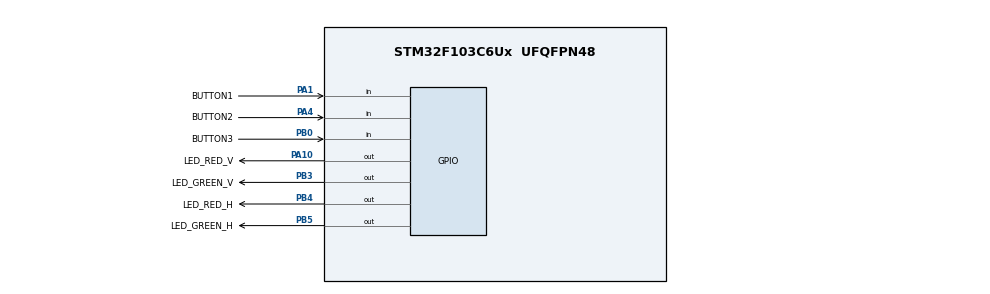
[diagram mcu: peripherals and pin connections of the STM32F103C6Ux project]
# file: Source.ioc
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Mcu.Family=STM32F1
Mcu.Name=STM32F103C6Ux
Mcu.Package=UFQFPN48
NVIC.PriorityGroup=NVIC_PRIORITYGROUP_4
NVIC.TIM2_IRQn=true\:0\:0\:false\:false\:true\:true\:true
PA1.GPIO_Label=BUTTON1
PA1.Signal=GPIO_Input
PA10.GPIO_Label=LED_RED_V
PA10.Signal=GPIO_Output
PA4.GPIO_Label=BUTTON2
PA4.Signal=GPIO_Input
PB0.GPIO_Label=BUTTON3
PB0.Signal=GPIO_Input
PB3.GPIO_Label=LED_GREEN_V
PB3.Signal=GPIO_Output
PB4.GPIO_Label=LED_RED_H
PB4.Signal=GPIO_Output
PB5.GPIO_Label=LED_GREEN_H
PB5.Signal=GPIO_Output
ProjectManager.HeapSize=0x200
ProjectManager.StackSize=0x400
ProjectManager.TargetToolchain=STM32CubeIDE
RCC.APB1Freq_Value=8000000
RCC.APB2Freq_Value=8000000
TIM2.Period=9
TIM2.Prescaler=7999
VP_SYS_VS_ND.Mode=No_Debug
VP_TIM2_VS_ClockSourceINT.Mode=Internal
board=custom

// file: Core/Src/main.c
/* USER CODE BEGIN Header */
/**
  ******************************************************************************
  * @file           : main.c
  * @brief          : Main program body
  ******************************************************************************
  * @attention
  *
  * <h2><center>&copy; Copyright (c) 2023 STMicroelectronics.
  * All rights reserved.</center></h2>
  *
  * This software component is licensed by ST under BSD 3-Clause license,
  * the "License"; You may not use this file except in compliance with the
  * License. You may obtain a copy of the License at:
  *                        opensource.org/licenses/BSD-3-Clause
  *
  ******************************************************************************
  */
/* USER CODE END Header */
#include "main.h"

/* USER CODE BEGIN Includes */
#include "software_timer.h"
#include "button.h"
#include "fsm_automatic.h"
#include "fsm_manual.h"
/* USER CODE END Includes */

TIM_HandleTypeDef htim2;

void SystemClock_Config(void);
static void MX_GPIO_Init(void);
static void MX_TIM2_Init(void);

int main(void)
{

  /* MCU Configuration--------------------------------------------------------*/

  /* Reset of all peripherals, Initializes the Flash interface and the Systick. */
  HAL_Init();

  /* Configure the system clock */
  SystemClock_Config();

  /* Initialize all configured peripherals */
  MX_GPIO_Init();
  MX_TIM2_Init();
  /* USER CODE BEGIN 2 */
  HAL_TIM_Base_Start_IT(&htim2);
  /* USER CODE END 2 */

  /* Infinite loop */
  /* USER CODE BEGIN WHILE */
  status = INIT;
  while (1)
  {
	  fsm_automatic_run();
	  fsm_manual_run();
    /* USER CODE END WHILE */

  }
}

void SystemClock_Config(void)
{
  RCC_OscInitTypeDef RCC_OscInitStruct = {0};
  RCC_ClkInitTypeDef RCC_ClkInitStruct = {0};

  /** Initializes the RCC Oscillators according to the specified parameters
  * in the RCC_OscInitTypeDef structure.
  */
  RCC_OscInitStruct.OscillatorType = RCC_OSCILLATORTYPE_HSI;
  RCC_OscInitStruct.HSIState = RCC_HSI_ON;
  RCC_OscInitStruct.HSICalibrationValue = RCC_HSICALIBRATION_DEFAULT;
  RCC_OscInitStruct.PLL.PLLState = RCC_PLL_NONE;
  if (HAL_RCC_OscConfig(&RCC_OscInitStruct) != HAL_OK)
  {
    Error_Handler();
  }
  /** Initializes the CPU, AHB and APB buses clocks
  */
  RCC_ClkInitStruct.ClockType = RCC_CLOCKTYPE_HCLK|RCC_CLOCKTYPE_SYSCLK
                              |RCC_CLOCKTYPE_PCLK1|RCC_CLOCKTYPE_PCLK2;
  RCC_ClkInitStruct.SYSCLKSource = RCC_SYSCLKSOURCE_HSI;
  RCC_ClkInitStruct.AHBCLKDivider = RCC_SYSCLK_DIV1;
  RCC_ClkInitStruct.APB1CLKDivider = RCC_HCLK_DIV1;
  RCC_ClkInitStruct.APB2CLKDivider = RCC_HCLK_DIV1;

  if (HAL_RCC_ClockConfig(&RCC_ClkInitStruct, FLASH_LATENCY_0) != HAL_OK)
  {
    Error_Handler();
  }
}

static void MX_TIM2_Init(void)
{

  TIM_ClockConfigTypeDef sClockSourceConfig = {0};
  TIM_MasterConfigTypeDef sMasterConfig = {0};

  htim2.Instance = TIM2;
  htim2.Init.Prescaler = 7999;
  htim2.Init.CounterMode = TIM_COUNTERMODE_UP;
  htim2.Init.Period = 9;
  htim2.Init.ClockDivision = TIM_CLOCKDIVISION_DIV1;
  htim2.Init.AutoReloadPreload = TIM_AUTORELOAD_PRELOAD_DISABLE;
  if (HAL_TIM_Base_Init(&htim2) != HAL_OK)
  {
    Error_Handler();
  }
  sClockSourceConfig.ClockSource = TIM_CLOCKSOURCE_INTERNAL;
  if (HAL_TIM_ConfigClockSource(&htim2, &sClockSourceConfig) != HAL_OK)
  {
    Error_Handler();
  }
  sMasterConfig.MasterOutputTrigger = TIM_TRGO_RESET;
  sMasterConfig.MasterSlaveMode = TIM_MASTERSLAVEMODE_DISABLE;
  if (HAL_TIMEx_MasterConfigSynchronization(&htim2, &sMasterConfig) != HAL_OK)
  {
    Error_Handler();
  }

}

static void MX_GPIO_Init(void)
{
  GPIO_InitTypeDef GPIO_InitStruct = {0};

  /* GPIO Ports Clock Enable */
  __HAL_RCC_GPIOA_CLK_ENABLE();
  __HAL_RCC_GPIOB_CLK_ENABLE();

  /*Configure GPIO pin Output Level */
  HAL_GPIO_WritePin(LED_RED_V_GPIO_Port, LED_RED_V_Pin, GPIO_PIN_RESET);

  /*Configure GPIO pin Output Level */
  HAL_GPIO_WritePin(GPIOB, LED_GREEN_V_Pin|LED_RED_H_Pin|LED_GREEN_H_Pin, GPIO_PIN_RESET);

  /*Configure GPIO pins : BUTTON1_Pin BUTTON2_Pin */
  GPIO_InitStruct.Pin = BUTTON1_Pin|BUTTON2_Pin;
  GPIO_InitStruct.Mode = GPIO_MODE_INPUT;
  GPIO_InitStruct.Pull = GPIO_NOPULL;
  HAL_GPIO_Init(GPIOA, &GPIO_InitStruct);

  /*Configure GPIO pin : BUTTON3_Pin */
  GPIO_InitStruct.Pin = BUTTON3_Pin;
  GPIO_InitStruct.Mode = GPIO_MODE_INPUT;
  GPIO_InitStruct.Pull = GPIO_NOPULL;
  HAL_GPIO_Init(BUTTON3_GPIO_Port, &GPIO_InitStruct);

  /*Configure GPIO pin : LED_RED_V_Pin */
  GPIO_InitStruct.Pin = LED_RED_V_Pin;
  GPIO_InitStruct.Mode = GPIO_MODE_OUTPUT_PP;
  GPIO_InitStruct.Pull = GPIO_NOPULL;
  GPIO_InitStruct.Speed = GPIO_SPEED_FREQ_LOW;
  HAL_GPIO_Init(LED_RED_V_GPIO_Port, &GPIO_InitStruct);

  /*Configure GPIO pins : LED_GREEN_V_Pin LED_RED_H_Pin LED_GREEN_H_Pin */
  GPIO_InitStruct.Pin = LED_GREEN_V_Pin|LED_RED_H_Pin|LED_GREEN_H_Pin;
  GPIO_InitStruct.Mode = GPIO_MODE_OUTPUT_PP;
  GPIO_InitStruct.Pull = GPIO_NOPULL;
  GPIO_InitStruct.Speed = GPIO_SPEED_FREQ_LOW;
  HAL_GPIO_Init(GPIOB, &GPIO_InitStruct);

}

/* USER CODE BEGIN 4 */
void HAL_TIM_PeriodElapsedCallback(TIM_HandleTypeDef *htim){
	timerRun(0); // led duration
	timerRun(1); //  7-segment counter
	processKeyInput(1);
	processKeyInput(2);
	processKeyInput(3);
};
/* USER CODE END 4 */

void Error_Handler(void)
{
  __disable_irq();
  while (1)
  {
  }
}

/************************ (C) COPYRIGHT STMicroelectronics *****END OF FILE****/
